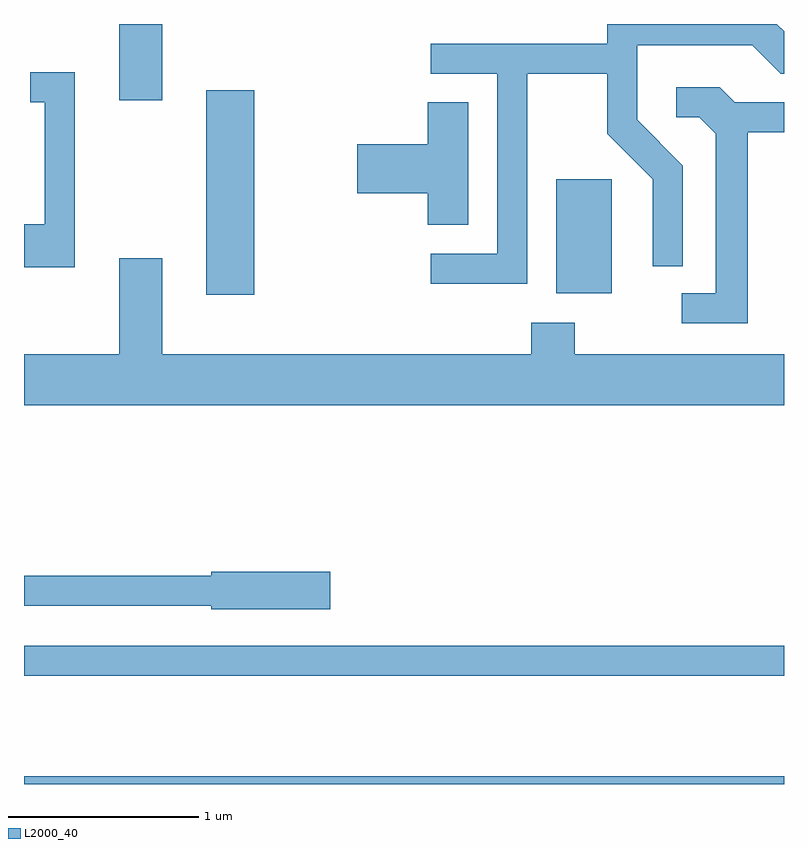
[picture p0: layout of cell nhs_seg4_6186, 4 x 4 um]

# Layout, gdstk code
import gdstk
lib = gdstk.Library(unit=1e-6, precision=1e-09)
def R(c, l, rs):  # rectangles x0, y0, x1, y1
    for r in rs: c.add(gdstk.rectangle(r[:2], r[2:], *l))
def P(c, l, *ps):  # polygons
    for p in ps: c.add(gdstk.Polygon(p, *l))
L2000_40 = (2000, 40)

nhs_seg4_6186 = lib.new_cell('nhs_seg4_6186')
R(nhs_seg4_6186, L2000_40, [(365.611,1385.982,369.611,1386.024), (365.611,1386.551,369.611,1386.709), (366.571,1388.556,366.824,1389.634), (368.411,1388.566,368.704,1389.164), (366.111,1389.581,366.339,1389.982)])
P(nhs_seg4_6186, L2000_40, [(368.259,1389.721),(368.681,1389.721),(368.681,1389.404),(368.921,1389.164),(368.921,1388.708),(369.079,1388.708),(369.079,1389.237),(368.839,1389.477),(368.839,1389.871),(369.444,1389.871),(369.594,1389.721),(369.611,1389.721),(369.611,1389.945),(369.574,1389.982),(368.681,1389.982),(368.681,1389.879),(367.753,1389.879),(367.753,1389.721),(368.101,1389.721),(368.101,1388.774),(367.753,1388.774),(367.753,1388.616),(368.259,1388.616)],
  [(365.879,1389.729),(365.643,1389.729),(365.643,1389.571),(365.721,1389.571),(365.721,1388.929),(365.611,1388.929),(365.611,1388.701),(365.879,1388.701)],
  [(369.419,1389.411),(369.611,1389.411),(369.611,1389.569),(369.352,1389.569),(369.272,1389.649),(369.043,1389.649),(369.043,1389.491),(369.164,1389.491),(369.251,1389.404),(369.251,1388.564),(369.073,1388.564),(369.073,1388.406),(369.419,1388.406)],
  [(367.949,1389.569),(367.736,1389.569),(367.736,1389.349),(367.366,1389.349),(367.366,1389.091),(367.736,1389.091),(367.736,1388.926),(367.949,1388.926)],
  [(369.611,1388.244),(368.509,1388.244),(368.509,1388.409),(368.281,1388.409),(368.281,1388.244),(366.339,1388.244),(366.339,1388.749),(366.111,1388.749),(366.111,1388.244),(365.611,1388.244),(365.611,1387.976),(369.611,1387.976)],
  [(367.224,1387.099),(366.596,1387.099),(366.596,1387.079),(365.611,1387.079),(365.611,1386.921),(366.596,1386.921),(366.596,1386.901),(367.224,1386.901)])

lib.write_gds('nhs_seg4_6186.gds')
